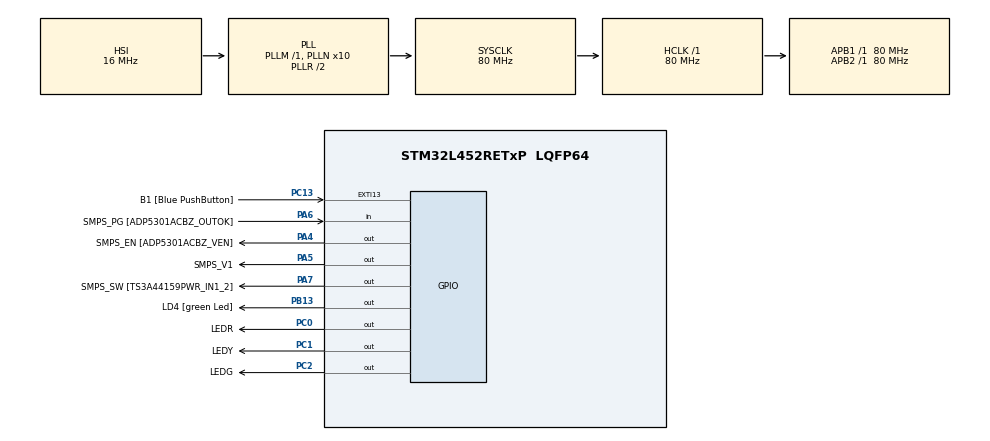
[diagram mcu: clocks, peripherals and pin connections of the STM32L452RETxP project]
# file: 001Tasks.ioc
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Mcu.Family=STM32L4
PA2.GPIO_PuPd=GPIO_NOPULL
VP_SYS_VS_tim6.Mode=TIM6
RCC.CortexFreq_Value=80000000
NVIC.TIM6_DAC_IRQn=true\:0\:0\:false\:false\:true\:false\:true
PH0-OSC_IN\ (PH0).Signal=RCC_OSC_IN
PA3.GPIO_PuPd=GPIO_NOPULL
PA2.GPIO_Speed=GPIO_SPEED_FREQ_VERY_HIGH
PC0.GPIO_Label=LEDR
PA6.GPIO_Label=SMPS_PG [ADP5301ACBZ_OUTOK]
PC13.GPIO_Label=B1 [Blue PushButton]
PB13.GPIO_Label=LD4 [green Led]
PA3.GPIO_Speed=GPIO_SPEED_FREQ_VERY_HIGH
PB13.Signal=GPIO_Output
RCC.SYSCLKSource=RCC_SYSCLKSOURCE_PLLCLK
ProjectManager.StackSize=0x400
PA14\ (JTCK/SWCLK).Signal=SYS_JTCK-SWCLK
RCC.HCLKFreq_Value=80000000
RCC.APB2TimFreq_Value=80000000
RCC.AHBFreq_Value=80000000
RCC.PREFETCH_ENABLE=1
RCC.HSE_VALUE=8000000
PA13\ (JTMS/SWDIO).GPIO_Label=TMS
PA6.GPIO_PuPd=GPIO_PULLUP
PA5.GPIO_PuPd=GPIO_NOPULL
PC13.GPIO_PuPd=GPIO_NOPULL
Mcu.Package=LQFP64
PA6.Signal=GPIO_Input
NVIC.TimeBase=TIM6_DAC_IRQn
PA2.GPIO_Label=USART_TX
NVIC.TimeBaseIP=TIM6
PA14\ (JTCK/SWCLK).GPIO_Label=TCK
RCC.APB1TimFreq_Value=80000000
PA4.GPIO_Label=SMPS_EN [ADP5301ACBZ_VEN]
PC2.GPIO_Label=LEDG
RCC.HSI48_VALUE=48000000
PA3.Signal=USART2_RX
PA2.GPIO_Mode=GPIO_MODE_AF_PP
PB3\ (JTDO/TRACESWO).GPIO_Label=SWO
RCC.MSI_VALUE=4000000
RCC.PLLSourceVirtual=RCC_PLLSOURCE_HSI
PC13.Signal=GPXTI13
PC2.Signal=GPIO_Output
PC15-OSC32_OUT\ (PC15).Signal=RCC_OSC32_OUT
PC0.Signal=GPIO_Output
PH1-OSC_OUT\ (PH1).Signal=RCC_OSC_OUT
PB3\ (JTDO/TRACESWO).Signal=SYS_JTDO-SWO
ProjectManager.TargetToolchain=STM32CubeIDE
PA3.GPIO_Mode=GPIO_MODE_AF_PP
RCC.USBFreq_Value=64000000
RCC.LSE_VALUE=32768
PA5.Signal=GPIO_Output
board=NUCLEO-L452RE-P
RCC.VCOOutputFreq_Value=160000000
RCC.APB2Freq_Value=80000000
PA5.GPIO_ModeDefaultOutputPP=GPIO_MODE_OUTPUT_PP
RCC.ADCFreq_Value=64000000
PC1.GPIO_Label=LEDY
Mcu.Name=STM32L452RETxP
PA2.Signal=USART2_TX
PA4.Signal=GPIO_Output
RCC.SYSCLKFreq_VALUE=80000000
PA7.GPIO_Label=SMPS_SW [TS3A44159PWR_IN1_2]
PA5.GPIO_Label=SMPS_V1
PC13.GPIO_ModeDefaultEXTI=GPIO_MODE_IT_FALLING
PC14-OSC32_IN\ (PC14).Signal=RCC_OSC32_IN
ProjectManager.HeapSize=0x200
RCC.HSI_VALUE=16000000
PA5.GPIO_Speed=GPIO_SPEED_FREQ_LOW
NVIC.PriorityGroup=NVIC_PRIORITYGROUP_4
PH0-OSC_IN\ (PH0).GPIO_Label=MCO
RCC.PLLN=10
RCC.APB1Freq_Value=80000000
PC1.Signal=GPIO_Output
PA13\ (JTMS/SWDIO).Signal=SYS_JTMS-SWDIO
PA3.GPIO_Label=USART_RX
PA7.Signal=GPIO_Output

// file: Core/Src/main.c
/* USER CODE BEGIN Header */
/**
  ******************************************************************************
  * @file           : main.c
  * @brief          : Main program body
  ******************************************************************************
  * @attention
  *
  * <h2><center>&copy; Copyright (c) 2022 STMicroelectronics.
  * All rights reserved.</center></h2>
  *
  * This software component is licensed by ST under BSD 3-Clause license,
  * the "License"; You may not use this file except in compliance with the
  * License. You may obtain a copy of the License at:
  *                        opensource.org/licenses/BSD-3-Clause
  *
  ******************************************************************************
  */
/* USER CODE END Header */
#include "main.h"

/* USER CODE BEGIN Includes */
#include <stdio.h>
#include "FreeRTOS.h"
#include "task.h"
/* USER CODE END Includes */

void SystemClock_Config(void);
static void MX_GPIO_Init(void);
/* USER CODE BEGIN PFP */
static void ledr_handler(void *parameters);
static void ledy_handler(void *parameters);
static void ledg_handler(void *parameters);
/* USER CODE END PFP */

int main(void)
{

  /* MCU Configuration--------------------------------------------------------*/

  /* Reset of all peripherals, Initializes the Flash interface and the Systick. */
  HAL_Init();

  /* Configure the system clock */
  SystemClock_Config();

  /* Initialize all configured peripherals */
  MX_GPIO_Init();
  /* USER CODE BEGIN 2 */
  TaskHandle_t task1_handle;
  TaskHandle_t task2_handle;
  TaskHandle_t task3_handle;
  BaseType_t status;

  status = xTaskCreate(ledr_handler, "LEDR", 200, NULL, 2, &task1_handle);
  configASSERT(status == pdPASS);

  status = xTaskCreate(ledy_handler, "LEDY", 200, NULL, 2, &task2_handle);
  configASSERT(status == pdPASS);

  status = xTaskCreate(ledg_handler, "LEDG", 200, NULL, 2, &task3_handle);
  configASSERT(status == pdPASS);

  // Start scheduler
  vTaskStartScheduler();

  /* USER CODE END 2 */

  /* Infinite loop */
  while (1)
  {

  }
}

void SystemClock_Config(void)
{
  RCC_OscInitTypeDef RCC_OscInitStruct = {0};
  RCC_ClkInitTypeDef RCC_ClkInitStruct = {0};

  /** Initializes the RCC Oscillators according to the specified parameters
  * in the RCC_OscInitTypeDef structure.
  */
  RCC_OscInitStruct.OscillatorType = RCC_OSCILLATORTYPE_HSI;
  RCC_OscInitStruct.HSIState = RCC_HSI_ON;
  RCC_OscInitStruct.HSICalibrationValue = RCC_HSICALIBRATION_DEFAULT;
  RCC_OscInitStruct.PLL.PLLState = RCC_PLL_ON;
  RCC_OscInitStruct.PLL.PLLSource = RCC_PLLSOURCE_HSI;
  RCC_OscInitStruct.PLL.PLLM = 1;
  RCC_OscInitStruct.PLL.PLLN = 10;
  RCC_OscInitStruct.PLL.PLLP = RCC_PLLP_DIV7;
  RCC_OscInitStruct.PLL.PLLQ = RCC_PLLQ_DIV2;
  RCC_OscInitStruct.PLL.PLLR = RCC_PLLR_DIV2;
  if (HAL_RCC_OscConfig(&RCC_OscInitStruct) != HAL_OK)
  {
    Error_Handler();
  }
  /** Initializes the CPU, AHB and APB buses clocks
  */
  RCC_ClkInitStruct.ClockType = RCC_CLOCKTYPE_HCLK|RCC_CLOCKTYPE_SYSCLK
                              |RCC_CLOCKTYPE_PCLK1|RCC_CLOCKTYPE_PCLK2;
  RCC_ClkInitStruct.SYSCLKSource = RCC_SYSCLKSOURCE_PLLCLK;
  RCC_ClkInitStruct.AHBCLKDivider = RCC_SYSCLK_DIV1;
  RCC_ClkInitStruct.APB1CLKDivider = RCC_HCLK_DIV1;
  RCC_ClkInitStruct.APB2CLKDivider = RCC_HCLK_DIV1;

  if (HAL_RCC_ClockConfig(&RCC_ClkInitStruct, FLASH_LATENCY_4) != HAL_OK)
  {
    Error_Handler();
  }
  /** Configure the main internal regulator output voltage
  */
  if (HAL_PWREx_ControlVoltageScaling(PWR_REGULATOR_VOLTAGE_SCALE1) != HAL_OK)
  {
    Error_Handler();
  }
}

static void MX_GPIO_Init(void)
{
  GPIO_InitTypeDef GPIO_InitStruct = {0};

  /* GPIO Ports Clock Enable */
  __HAL_RCC_GPIOC_CLK_ENABLE();
  __HAL_RCC_GPIOH_CLK_ENABLE();
  __HAL_RCC_GPIOA_CLK_ENABLE();
  __HAL_RCC_GPIOB_CLK_ENABLE();

  /*Configure GPIO pin Output Level */
  HAL_GPIO_WritePin(GPIOC, LEDR_Pin|LEDY_Pin|LEDG_Pin, GPIO_PIN_RESET);

  /*Configure GPIO pin Output Level */
  HAL_GPIO_WritePin(GPIOA, SMPS_EN_Pin|SMPS_V1_Pin|SMPS_SW_Pin, GPIO_PIN_RESET);

  /*Configure GPIO pin Output Level */
  HAL_GPIO_WritePin(LD4_GPIO_Port, LD4_Pin, GPIO_PIN_RESET);

  /*Configure GPIO pin : B1_Pin */
  GPIO_InitStruct.Pin = B1_Pin;
  GPIO_InitStruct.Mode = GPIO_MODE_IT_FALLING;
  GPIO_InitStruct.Pull = GPIO_NOPULL;
  HAL_GPIO_Init(B1_GPIO_Port, &GPIO_InitStruct);

  /*Configure GPIO pins : LEDR_Pin LEDY_Pin LEDG_Pin */
  GPIO_InitStruct.Pin = LEDR_Pin|LEDY_Pin|LEDG_Pin;
  GPIO_InitStruct.Mode = GPIO_MODE_OUTPUT_PP;
  GPIO_InitStruct.Pull = GPIO_NOPULL;
  GPIO_InitStruct.Speed = GPIO_SPEED_FREQ_LOW;
  HAL_GPIO_Init(GPIOC, &GPIO_InitStruct);

  /*Configure GPIO pins : USART_TX_Pin USART_RX_Pin */
  GPIO_InitStruct.Pin = USART_TX_Pin|USART_RX_Pin;
  GPIO_InitStruct.Mode = GPIO_MODE_AF_PP;
  GPIO_InitStruct.Pull = GPIO_NOPULL;
  GPIO_InitStruct.Speed = GPIO_SPEED_FREQ_VERY_HIGH;
  GPIO_InitStruct.Alternate = GPIO_AF7_USART2;
  HAL_GPIO_Init(GPIOA, &GPIO_InitStruct);

  /*Configure GPIO pins : SMPS_EN_Pin SMPS_V1_Pin SMPS_SW_Pin */
  GPIO_InitStruct.Pin = SMPS_EN_Pin|SMPS_V1_Pin|SMPS_SW_Pin;
  GPIO_InitStruct.Mode = GPIO_MODE_OUTPUT_PP;
  GPIO_InitStruct.Pull = GPIO_NOPULL;
  GPIO_InitStruct.Speed = GPIO_SPEED_FREQ_LOW;
  HAL_GPIO_Init(GPIOA, &GPIO_InitStruct);

  /*Configure GPIO pin : SMPS_PG_Pin */
  GPIO_InitStruct.Pin = SMPS_PG_Pin;
  GPIO_InitStruct.Mode = GPIO_MODE_INPUT;
  GPIO_InitStruct.Pull = GPIO_PULLUP;
  HAL_GPIO_Init(SMPS_PG_GPIO_Port, &GPIO_InitStruct);

  /*Configure GPIO pin : LD4_Pin */
  GPIO_InitStruct.Pin = LD4_Pin;
  GPIO_InitStruct.Mode = GPIO_MODE_OUTPUT_PP;
  GPIO_InitStruct.Pull = GPIO_NOPULL;
  GPIO_InitStruct.Speed = GPIO_SPEED_FREQ_LOW;
  HAL_GPIO_Init(LD4_GPIO_Port, &GPIO_InitStruct);

}

/* USER CODE BEGIN 4 */
static void ledg_handler(void *parameters)
{
    TickType_t last_wakeup_time = xTaskGetTickCount();

    while(1)
    {
        HAL_GPIO_TogglePin(LEDG_GPIO_Port, LEDG_Pin);
        vTaskDelayUntil(&last_wakeup_time, pdMS_TO_TICKS(1000));
    }
}

static void ledy_handler(void *parameters)
{
    TickType_t last_wakeup_time = xTaskGetTickCount();

    while(1)
    {
        HAL_GPIO_TogglePin(LEDY_GPIO_Port, LEDY_Pin);
        vTaskDelayUntil(&last_wakeup_time, pdMS_TO_TICKS(800));
    }
}

static void ledr_handler(void *parameters)
{
    TickType_t last_wakeup_time = xTaskGetTickCount();

    while(1)
    {
        HAL_GPIO_TogglePin(LEDR_GPIO_Port, LEDR_Pin);
        vTaskDelayUntil(&last_wakeup_time, pdMS_TO_TICKS(400));
    }
}

void vApplicationIdleHook(void)
{
    HAL_PWR_EnterSLEEPMode(PWR_MAINREGULATOR_ON, PWR_SLEEPENTRY_WFI);
}

/* USER CODE END 4 */

 /**
  * @brief  Period elapsed callback in non blocking mode
  * @note   This function is called  when TIM6 interrupt took place, inside
  * HAL_TIM_IRQHandler(). It makes a direct call to HAL_IncTick() to increment
  * a global variable "uwTick" used as application time base.
  * @param  htim : TIM handle
  * @retval None
  */
void HAL_TIM_PeriodElapsedCallback(TIM_HandleTypeDef *htim)
{
  if (htim->Instance == TIM6) {
    HAL_IncTick();
  }
}

void Error_Handler(void)
{
  __disable_irq();
  while (1)
  {
  }
}

/************************ (C) COPYRIGHT STMicroelectronics *****END OF FILE****/
